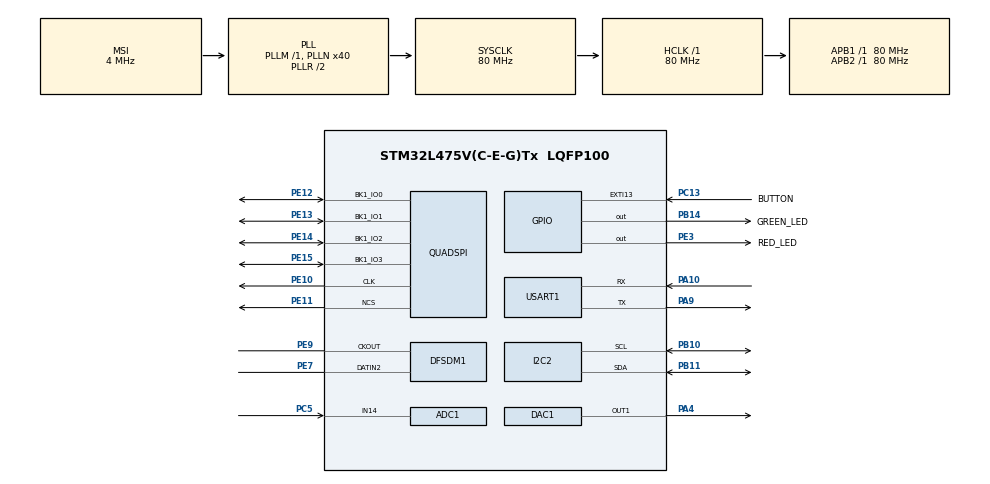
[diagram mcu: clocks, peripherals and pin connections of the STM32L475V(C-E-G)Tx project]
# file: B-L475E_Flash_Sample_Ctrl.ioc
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ADC1.Channel-0\#ChannelRegularConversion=ADC_CHANNEL_14
ADC1.NbrOfConversionFlag=1
ADC1.OffsetNumber-0\#ChannelRegularConversion=ADC_OFFSET_NONE
ADC1.Rank-0\#ChannelRegularConversion=1
ADC1.Resolution=ADC_RESOLUTION_8B
ADC1.SamplingTime-0\#ChannelRegularConversion=ADC_SAMPLETIME_2CYCLES_5
ADC1.master=1
DAC1.DAC_Trigger-DAC_OUT1=DAC_TRIGGER_T2_TRGO
DFSDM1.Divider=67
DFSDM1.DmaMode_reg_FIL0=ENABLE
DFSDM1.FastMode_reg_FIL0=ENABLE
DFSDM1.Filter_regChannel_FIL0=DFSDM_CHANNEL_2
DFSDM1.Fosr_FIL0=75
DFSDM1.SincOrder_FIL0=DFSDM_FILTER_SINC3_ORDER
Dma.DAC_CH1.0.Direction=DMA_MEMORY_TO_PERIPH
Dma.DAC_CH1.0.Instance=DMA1_Channel3
Dma.DAC_CH1.0.MemDataAlignment=DMA_MDATAALIGN_BYTE
Dma.DAC_CH1.0.MemInc=DMA_MINC_ENABLE
Dma.DAC_CH1.0.Mode=DMA_CIRCULAR
Dma.DAC_CH1.0.PeriphDataAlignment=DMA_PDATAALIGN_BYTE
Dma.DAC_CH1.0.PeriphInc=DMA_PINC_DISABLE
Dma.DAC_CH1.0.Priority=DMA_PRIORITY_LOW
Dma.DFSDM1_FLT0.1.Direction=DMA_PERIPH_TO_MEMORY
Dma.DFSDM1_FLT0.1.Instance=DMA1_Channel4
Dma.DFSDM1_FLT0.1.MemDataAlignment=DMA_MDATAALIGN_WORD
Dma.DFSDM1_FLT0.1.MemInc=DMA_MINC_ENABLE
Dma.DFSDM1_FLT0.1.Mode=DMA_NORMAL
Dma.DFSDM1_FLT0.1.PeriphDataAlignment=DMA_PDATAALIGN_WORD
Dma.DFSDM1_FLT0.1.PeriphInc=DMA_PINC_DISABLE
Dma.DFSDM1_FLT0.1.Priority=DMA_PRIORITY_LOW
Dma.Request0=DAC_CH1
Dma.Request1=DFSDM1_FLT0
I2C2.Timing=0x10909CEC
Mcu.Family=STM32L4
Mcu.Name=STM32L475V(C-E-G)Tx
Mcu.Package=LQFP100
NVIC.DMA1_Channel3_IRQn=true\:0\:0\:false\:false\:true\:false\:true
NVIC.DMA1_Channel4_IRQn=true\:0\:0\:false\:false\:true\:false\:true
NVIC.EXTI15_10_IRQn=true\:0\:0\:false\:false\:true\:true\:true
NVIC.PriorityGroup=NVIC_PRIORITYGROUP_4
NVIC.TIM2_IRQn=true\:0\:0\:false\:false\:true\:true\:true
PA10.Mode=Asynchronous
PA10.Signal=USART1_RX
PA13\ (JTMS-SWDIO).Signal=SYS_JTMS-SWDIO
PA4.Signal=COMP_DAC11_group
PA9.Mode=Asynchronous
PA9.Signal=USART1_TX
PB10.Mode=I2C
PB10.Signal=I2C2_SCL
PB11.Mode=I2C
PB11.Signal=I2C2_SDA
PB14.GPIO_Label=GREEN_LED
PB14.Signal=GPIO_Output
PB3\ (JTDO-TRACESWO).Signal=SYS_JTDO-SWO
PC13.GPIO_Label=BUTTON
PC13.Signal=GPXTI13
PC5.Signal=ADCx_IN14
PE10.Mode=Single Bank
PE10.Signal=QUADSPI_CLK
PE11.Mode=Single Bank
PE11.Signal=QUADSPI_NCS
PE12.Mode=Single Bank
PE12.Signal=QUADSPI_BK1_IO0
PE13.Mode=Single Bank
PE13.Signal=QUADSPI_BK1_IO1
PE14.Mode=Single Bank
PE14.Signal=QUADSPI_BK1_IO2
PE15.Mode=Single Bank
PE15.Signal=QUADSPI_BK1_IO3
PE3.GPIO_Label=RED_LED
PE3.Signal=GPIO_Output
PE7.Signal=S_DATAIN2DFSDM1
PE9.Signal=S_CKOUTDFSDM1
ProjectManager.HeapSize=0x200
ProjectManager.StackSize=0x400
ProjectManager.TargetToolchain=STM32CubeIDE
RCC.ADCFreq_Value=48000000
RCC.AHBFreq_Value=80000000
RCC.APB1Freq_Value=80000000
RCC.APB1TimFreq_Value=80000000
RCC.APB2Freq_Value=80000000
RCC.APB2TimFreq_Value=80000000
RCC.CortexFreq_Value=80000000
RCC.HCLKFreq_Value=80000000
RCC.HSE_VALUE=8000000
RCC.HSI_VALUE=16000000
RCC.LSE_VALUE=32768
RCC.MSI_VALUE=4000000
RCC.PLLN=40
RCC.PLLSAI1N=24
RCC.SYSCLKFreq_VALUE=80000000
RCC.SYSCLKSource=RCC_SYSCLKSOURCE_PLLCLK
RCC.USBFreq_Value=48000000
RCC.VCOOutputFreq_Value=160000000
SH.ADCx_IN14.0=ADC1_IN14,IN14-Single-Ended
SH.COMP_DAC11_group.0=DAC1_OUT1,DAC_OUT1
SH.S_CKOUTDFSDM1.0=DFSDM1_CKOUT,CKOUT
SH.S_CKOUTDFSDM1.1=DFSDM1_CKOUT,PDM_SPI_input_from_ch2_and_internal_clock
SH.S_DATAIN2DFSDM1.0=DFSDM1_DATIN2,PDM_SPI_input_from_ch2_and_internal_clock
TIM2.Period=1814
TIM2.TIM_MasterOutputTrigger=TIM_TRGO_UPDATE
USART1.VirtualMode-Asynchronous=VM_ASYNC
VP_TIM2_VS_ClockSourceINT.Mode=Internal
board=B-L475E-IOT01A1

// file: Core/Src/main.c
/* USER CODE BEGIN Header */
/**
  ******************************************************************************
  * @file           : main.c
  * @brief          : Main program body
  ******************************************************************************
  * @attention
  *
  * <h2><center>&copy; Copyright (c) 2020 STMicroelectronics.
  * All rights reserved.</center></h2>
  *
  * This software component is licensed by ST under BSD 3-Clause license,
  * the "License"; You may not use this file except in compliance with the
  * License. You may obtain a copy of the License at:
  *                        opensource.org/licenses/BSD-3-Clause
  *
  ******************************************************************************
  */
/* USER CODE END Header */
#include "main.h"

/* USER CODE BEGIN Includes */
#include <stdio.h>
#include <string.h>
#include "stm32l475e_iot01_accelero.h"
#include "stm32l475e_iot01_qspi.h"
#include "arm_math.h"
#define ARM_MATH_CM4
#include "mx25r6435f.h"

/* USER CODE END Includes */

/* USER CODE BEGIN PTD */
volatile enum {IDLE, HALFPT, DONE} currState_flash;
volatile uint8_t doneRecording = 0;
/* USER CODE END PTD */

/* USER CODE BEGIN PD */

// DEFAULT TONE PARAMS
#define C6					1046							// frequency of the default tone
#define INIT_AMP			80								// amplitude of the default tone

// RECORDING PARAMS
#define SAMPLING_FREQ 		44100							// sampling frequency of audio data (Hz)
#define NUM_SECONDS			20								// record for 20 seconds
#define NUM_TOTAL_SAMPLES	(NUM_SECONDS*SAMPLING_FREQ)		// 882000 samples total for 20 seconds of recording

// FLASH READ/WRITE PARAMS
#define START_WRITE_ADR		(uint32_t)0x0000				// address of first block in FLASH memory
#define TONE_BUFFER_SIZE	2000							// 2000 samples (~0.05 seconds of samples)
#define HALF_BUFFER_SIZE	1000							// 1000 samples (~0.02 seconds of samples)
#define NUM_BLOCKS_FLASH	(uint32_t)(NUM_TOTAL_SAMPLES/MX25R6435F_BLOCK_SIZE) + 1
#define RECSAMPLES			11025

// VOICE PLAYBACK PARAMS
#define MAX_MUL_PB			4
#define TEMP_BUFFER_SIZE	MAX_MUL_PB*HALF_BUFFER_SIZE

/* USER CODE END PD */

ADC_HandleTypeDef hadc1;

DAC_HandleTypeDef hdac1;
DMA_HandleTypeDef hdma_dac_ch1;

DFSDM_Filter_HandleTypeDef hdfsdm1_filter0;
DFSDM_Channel_HandleTypeDef hdfsdm1_channel2;
DMA_HandleTypeDef hdma_dfsdm1_flt0;

I2C_HandleTypeDef hi2c2;

QSPI_HandleTypeDef hqspi;

TIM_HandleTypeDef htim2;

UART_HandleTypeDef huart1;

/* USER CODE BEGIN PV */

// ------------------ DEFINITIONS ------------------ //
// Audio playback var definitions
uint8_t audioBuffer[TONE_BUFFER_SIZE];

uint8_t tempBuffer[TEMP_BUFFER_SIZE];

uint32_t recordBuffer[RECSAMPLES];
uint8_t recordBufferProc[RECSAMPLES];
uint32_t newStart = 0;
uint32_t nextPosition = 0;
uint8_t currTimeStep = 0;

// Sensor/potentiometer reading var definitions
uint8_t volume = 0;
float vol_mod = 1;
int16_t raw_acc[] = {0, 0, 0};
float conv_accX = 0;
char strBuf[100];

/* USER CODE END PV */

void SystemClock_Config(void);
static void MX_GPIO_Init(void);
static void MX_DMA_Init(void);
static void MX_DAC1_Init(void);
static void MX_TIM2_Init(void);
static void MX_QUADSPI_Init(void);
static void MX_I2C2_Init(void);
static void MX_USART1_UART_Init(void);
static void MX_ADC1_Init(void);
static void MX_DFSDM1_Init(void);
/* USER CODE BEGIN PFP */

void GenerateTone(uint8_t *array, float vol, float freq, uint32_t nSamples);
float MapFreqVal(int16_t x);
float MapModifVal(int16_t x);
void ModifyRecFreq(uint8_t *inArr, uint8_t *outArr, float mod, uint32_t nSamples, float vol);

/* USER CODE END PFP */

int main(void)
{

  /* MCU Configuration--------------------------------------------------------*/

  /* Reset of all peripherals, Initializes the Flash interface and the Systick. */
  HAL_Init();

  /* Configure the system clock */
  SystemClock_Config();

  /* Initialize all configured peripherals */
  MX_GPIO_Init();
  MX_DMA_Init();
  MX_DAC1_Init();
  MX_TIM2_Init();
  MX_QUADSPI_Init();
  MX_I2C2_Init();
  MX_USART1_UART_Init();
  MX_ADC1_Init();
  MX_DFSDM1_Init();
  /* USER CODE BEGIN 2 */

  if (BSP_ACCELERO_Init() != ACCELERO_OK){
  	  HAL_GPIO_WritePin(RED_LED_GPIO_Port, RED_LED_Pin, GPIO_PIN_RESET);
    }
  memset(&strBuf[0], 0, sizeof(strBuf));

  // Poll ADC
  HAL_ADC_Start(&hadc1);
  HAL_ADC_PollForConversion(&hadc1, HAL_MAX_DELAY);
  volume = HAL_ADC_GetValue(&hadc1)/3;
  HAL_ADC_Stop(&hadc1);

  // Poll accelerometer
  BSP_ACCELERO_AccGetXYZ(raw_acc);
  conv_accX = MapFreqVal(raw_acc[0]);

  // ------------------------------- ERASE AND REWRITE FLASH WITH TEST TONE ------------------------------- //
  //                               (WILL BE REPLACED BY ACTUAL MIC RECORDING)                               //

  // Generate a C6 tone for testing
  GenerateTone(audioBuffer, 40, C6, TONE_BUFFER_SIZE);

  BSP_QSPI_Init();
  // Loop and erase 1 block of FLASH memory at a time
  for (int i = 0; i < NUM_BLOCKS_FLASH; i++){
  	  newStart = START_WRITE_ADR + i*(MX25R6435F_BLOCK_SIZE);

  	  if (BSP_QSPI_Erase_Block(newStart) != QSPI_OK)
  		  Error_Handler();
  }

//  // Write the C6 tone to FLASH repeatedly for 20 seconds
//  uint8_t reachEndFlash = 0;
//  newStart = START_WRITE_ADR;
//  nextPosition = newStart;
//
//  while (!reachEndFlash){
//
//	  nextPosition = newStart + TONE_BUFFER_SIZE;
//
//	  if (nextPosition >= NUM_TOTAL_SAMPLES){
//		  reachEndFlash = 1;
//
//		  if (BSP_QSPI_Write(&audioBuffer[0], newStart, (NUM_TOTAL_SAMPLES-newStart)) != QSPI_OK)
//			  Error_Handler();
//
//		  break;
//	  }
//
//	  if (BSP_QSPI_Write(audioBuffer, newStart, TONE_BUFFER_SIZE) != QSPI_OK)
//		  Error_Handler();
//
//	  newStart = nextPosition;
//  }

  // Record 20 seconds and write to FLASH
  HAL_GPIO_WritePin(GREEN_LED_GPIO_Port, GREEN_LED_Pin, GPIO_PIN_SET);
  HAL_Delay(500);
  HAL_GPIO_WritePin(GREEN_LED_GPIO_Port, GREEN_LED_Pin, GPIO_PIN_RESET);
  HAL_Delay(500);
//  HAL_GPIO_WritePin(GREEN_LED_GPIO_Port, GREEN_LED_Pin, GPIO_PIN_SET);

  newStart = START_WRITE_ADR;

  for (uint8_t i = 0; i < 80; i++){

	  HAL_GPIO_WritePin(GREEN_LED_GPIO_Port, GREEN_LED_Pin, GPIO_PIN_SET);
	  HAL_DFSDM_FilterRegularStart_DMA (&hdfsdm1_filter0, (int32_t *)recordBuffer , TONE_BUFFER_SIZE);
	  while (!doneRecording); //doneRecording needs to be set to 1 by the ISR
	  HAL_DFSDM_FilterRegularStop_DMA(&hdfsdm1_filter0);

	  for (uint32_t i=0; i < RECSAMPLES; i++){
		  // trim the 32 bit signed number to 24 MSBs first, then instead of directly converting to 8 bits, 'amplify' the sound a bit
		  int32_t currSample = recordBuffer[i] >> (8 + (24-16));

		  // convert 8 bit signed to 8 bit unsigned
		  recordBufferProc[i] = (uint8_t)currSample + 80;
	  }
	  doneRecording = 0;

	  HAL_GPIO_WritePin(GREEN_LED_GPIO_Port, GREEN_LED_Pin, GPIO_PIN_RESET);
	  if (BSP_QSPI_Write(recordBufferProc, newStart, RECSAMPLES) != QSPI_OK)
		  Error_Handler();

	  newStart += RECSAMPLES;
  }

  HAL_GPIO_WritePin(GREEN_LED_GPIO_Port, GREEN_LED_Pin, GPIO_PIN_RESET);

  // Reset audio buffer
  memset(&audioBuffer[0], 0, sizeof(audioBuffer));

  // ------------------------------------------------------------------------------------------------------ //

  // Clear error led state
  HAL_GPIO_WritePin(RED_LED_GPIO_Port, RED_LED_Pin, GPIO_PIN_SET); // clear error led state

  // Start timer
  HAL_TIM_Base_Start_IT(&htim2);

  // Start DMA for DAC
  HAL_DAC_Start_DMA(&hdac1, DAC_CHANNEL_1, (uint32_t *)audioBuffer, TONE_BUFFER_SIZE, DAC_ALIGN_8B_R);

  // Start in IDLE mode:
  currState_flash = IDLE;

  // Start at the beginning of the flash recording
  newStart = START_WRITE_ADR;
  nextPosition = newStart;
  uint16_t nextLen = HALF_BUFFER_SIZE;
  float modifier = 1;

  /* USER CODE END 2 */

  /* Infinite loop */
  /* USER CODE BEGIN WHILE */
  while (1)
  {

	// ----------------------------- LOAD AUDIO SAMPLES FROM FLASH TO DAC USING DMA ------------------------------
	switch (currState_flash){
		case IDLE:
			break;

		case HALFPT:

			// Read first half of next note into tones[]
			HAL_ADC_Start(&hadc1);
			HAL_ADC_PollForConversion(&hadc1, HAL_MAX_DELAY);
			vol_mod = (float)HAL_ADC_GetValue(&hadc1)/128.0;
			HAL_ADC_Stop(&hadc1);

			BSP_ACCELERO_AccGetXYZ(raw_acc);
			modifier = MapModifVal(raw_acc[0]);

			nextLen = (uint16_t)(modifier * HALF_BUFFER_SIZE);

			if (BSP_QSPI_Read(tempBuffer, newStart, nextLen) != QSPI_OK)
				Error_Handler();

			ModifyRecFreq(tempBuffer, audioBuffer, modifier, nextLen, vol_mod);

			// Check if exceed number of samples
			nextPosition = newStart + nextLen; //change this
			if (nextPosition >= NUM_TOTAL_SAMPLES){
				HAL_DAC_Stop_DMA(&hdac1, DAC_CHANNEL_1);
			}

			newStart = nextPosition;
			currState_flash = IDLE;
			break;

		case DONE:

			// Read second half of curr note into tones[]
			HAL_ADC_Start(&hadc1);
			HAL_ADC_PollForConversion(&hadc1, HAL_MAX_DELAY);
			vol_mod = (float)HAL_ADC_GetValue(&hadc1)/128.0;
			HAL_ADC_Stop(&hadc1);

			BSP_ACCELERO_AccGetXYZ(raw_acc);
			modifier = MapModifVal(raw_acc[0]);

			nextLen = (uint16_t)(modifier * HALF_BUFFER_SIZE);

			if (BSP_QSPI_Read(tempBuffer, newStart, nextLen) != QSPI_OK)
				Error_Handler();

			ModifyRecFreq(tempBuffer, &audioBuffer[HALF_BUFFER_SIZE-1], modifier, nextLen, vol_mod);

			// Check if exceed number of samples
			nextPosition = newStart + nextLen; //change this
			if (nextPosition >= NUM_TOTAL_SAMPLES){
				HAL_DAC_Stop_DMA(&hdac1, DAC_CHANNEL_1);
			}

			newStart = nextPosition;
			currState_flash = IDLE;
			break;

	}
	// ----------------------------------------------------------------------------------------------------------

    /* USER CODE END WHILE */

  }
}

void SystemClock_Config(void)
{
  RCC_OscInitTypeDef RCC_OscInitStruct = {0};
  RCC_ClkInitTypeDef RCC_ClkInitStruct = {0};
  RCC_PeriphCLKInitTypeDef PeriphClkInit = {0};

  /** Initializes the RCC Oscillators according to the specified parameters
  * in the RCC_OscInitTypeDef structure.
  */
  RCC_OscInitStruct.OscillatorType = RCC_OSCILLATORTYPE_MSI;
  RCC_OscInitStruct.MSIState = RCC_MSI_ON;
  RCC_OscInitStruct.MSICalibrationValue = 0;
  RCC_OscInitStruct.MSIClockRange = RCC_MSIRANGE_6;
  RCC_OscInitStruct.PLL.PLLState = RCC_PLL_ON;
  RCC_OscInitStruct.PLL.PLLSource = RCC_PLLSOURCE_MSI;
  RCC_OscInitStruct.PLL.PLLM = 1;
  RCC_OscInitStruct.PLL.PLLN = 40;
  RCC_OscInitStruct.PLL.PLLP = RCC_PLLP_DIV7;
  RCC_OscInitStruct.PLL.PLLQ = RCC_PLLQ_DIV2;
  RCC_OscInitStruct.PLL.PLLR = RCC_PLLR_DIV2;
  if (HAL_RCC_OscConfig(&RCC_OscInitStruct) != HAL_OK)
  {
    Error_Handler();
  }
  /** Initializes the CPU, AHB and APB buses clocks
  */
  RCC_ClkInitStruct.ClockType = RCC_CLOCKTYPE_HCLK|RCC_CLOCKTYPE_SYSCLK
                              |RCC_CLOCKTYPE_PCLK1|RCC_CLOCKTYPE_PCLK2;
  RCC_ClkInitStruct.SYSCLKSource = RCC_SYSCLKSOURCE_PLLCLK;
  RCC_ClkInitStruct.AHBCLKDivider = RCC_SYSCLK_DIV1;
  RCC_ClkInitStruct.APB1CLKDivider = RCC_HCLK_DIV1;
  RCC_ClkInitStruct.APB2CLKDivider = RCC_HCLK_DIV1;

  if (HAL_RCC_ClockConfig(&RCC_ClkInitStruct, FLASH_LATENCY_4) != HAL_OK)
  {
    Error_Handler();
  }
  PeriphClkInit.PeriphClockSelection = RCC_PERIPHCLK_USART1|RCC_PERIPHCLK_I2C2
                              |RCC_PERIPHCLK_DFSDM1|RCC_PERIPHCLK_ADC;
  PeriphClkInit.Usart1ClockSelection = RCC_USART1CLKSOURCE_PCLK2;
  PeriphClkInit.I2c2ClockSelection = RCC_I2C2CLKSOURCE_PCLK1;
  PeriphClkInit.AdcClockSelection = RCC_ADCCLKSOURCE_PLLSAI1;
  PeriphClkInit.Dfsdm1ClockSelection = RCC_DFSDM1CLKSOURCE_PCLK;
  PeriphClkInit.PLLSAI1.PLLSAI1Source = RCC_PLLSOURCE_MSI;
  PeriphClkInit.PLLSAI1.PLLSAI1M = 1;
  PeriphClkInit.PLLSAI1.PLLSAI1N = 24;
  PeriphClkInit.PLLSAI1.PLLSAI1P = RCC_PLLP_DIV7;
  PeriphClkInit.PLLSAI1.PLLSAI1Q = RCC_PLLQ_DIV2;
  PeriphClkInit.PLLSAI1.PLLSAI1R = RCC_PLLR_DIV2;
  PeriphClkInit.PLLSAI1.PLLSAI1ClockOut = RCC_PLLSAI1_ADC1CLK;
  if (HAL_RCCEx_PeriphCLKConfig(&PeriphClkInit) != HAL_OK)
  {
    Error_Handler();
  }
  /** Configure the main internal regulator output voltage
  */
  if (HAL_PWREx_ControlVoltageScaling(PWR_REGULATOR_VOLTAGE_SCALE1) != HAL_OK)
  {
    Error_Handler();
  }
}

static void MX_ADC1_Init(void)
{

  ADC_MultiModeTypeDef multimode = {0};
  ADC_ChannelConfTypeDef sConfig = {0};

  /** Common config
  */
  hadc1.Instance = ADC1;
  hadc1.Init.ClockPrescaler = ADC_CLOCK_ASYNC_DIV1;
  hadc1.Init.Resolution = ADC_RESOLUTION_8B;
  hadc1.Init.DataAlign = ADC_DATAALIGN_RIGHT;
  hadc1.Init.ScanConvMode = ADC_SCAN_DISABLE;
  hadc1.Init.EOCSelection = ADC_EOC_SINGLE_CONV;
  hadc1.Init.LowPowerAutoWait = DISABLE;
  hadc1.Init.ContinuousConvMode = DISABLE;
  hadc1.Init.NbrOfConversion = 1;
  hadc1.Init.DiscontinuousConvMode = DISABLE;
  hadc1.Init.ExternalTrigConv = ADC_SOFTWARE_START;
  hadc1.Init.ExternalTrigConvEdge = ADC_EXTERNALTRIGCONVEDGE_NONE;
  hadc1.Init.DMAContinuousRequests = DISABLE;
  hadc1.Init.Overrun = ADC_OVR_DATA_PRESERVED;
  hadc1.Init.OversamplingMode = DISABLE;
  if (HAL_ADC_Init(&hadc1) != HAL_OK)
  {
    Error_Handler();
  }
  /** Configure the ADC multi-mode
  */
  multimode.Mode = ADC_MODE_INDEPENDENT;
  if (HAL_ADCEx_MultiModeConfigChannel(&hadc1, &multimode) != HAL_OK)
  {
    Error_Handler();
  }
  /** Configure Regular Channel
  */
  sConfig.Channel = ADC_CHANNEL_14;
  sConfig.Rank = ADC_REGULAR_RANK_1;
  sConfig.SamplingTime = ADC_SAMPLETIME_2CYCLES_5;
  sConfig.SingleDiff = ADC_SINGLE_ENDED;
  sConfig.OffsetNumber = ADC_OFFSET_NONE;
  sConfig.Offset = 0;
  if (HAL_ADC_ConfigChannel(&hadc1, &sConfig) != HAL_OK)
  {
    Error_Handler();
  }

}

static void MX_DAC1_Init(void)
{

  DAC_ChannelConfTypeDef sConfig = {0};

  /** DAC Initialization
  */
  hdac1.Instance = DAC1;
  if (HAL_DAC_Init(&hdac1) != HAL_OK)
  {
    Error_Handler();
  }
  /** DAC channel OUT1 config
  */
  sConfig.DAC_SampleAndHold = DAC_SAMPLEANDHOLD_DISABLE;
  sConfig.DAC_Trigger = DAC_TRIGGER_T2_TRGO;
  sConfig.DAC_OutputBuffer = DAC_OUTPUTBUFFER_ENABLE;
  sConfig.DAC_ConnectOnChipPeripheral = DAC_CHIPCONNECT_DISABLE;
  sConfig.DAC_UserTrimming = DAC_TRIMMING_FACTORY;
  if (HAL_DAC_ConfigChannel(&hdac1, &sConfig, DAC_CHANNEL_1) != HAL_OK)
  {
    Error_Handler();
  }

}

static void MX_DFSDM1_Init(void)
{

  hdfsdm1_filter0.Instance = DFSDM1_Filter0;
  hdfsdm1_filter0.Init.RegularParam.Trigger = DFSDM_FILTER_SW_TRIGGER;
  hdfsdm1_filter0.Init.RegularParam.FastMode = ENABLE;
  hdfsdm1_filter0.Init.RegularParam.DmaMode = ENABLE;
  hdfsdm1_filter0.Init.FilterParam.SincOrder = DFSDM_FILTER_SINC3_ORDER;
  hdfsdm1_filter0.Init.FilterParam.Oversampling = 75;
  hdfsdm1_filter0.Init.FilterParam.IntOversampling = 1;
  if (HAL_DFSDM_FilterInit(&hdfsdm1_filter0) != HAL_OK)
  {
    Error_Handler();
  }
  hdfsdm1_channel2.Instance = DFSDM1_Channel2;
  hdfsdm1_channel2.Init.OutputClock.Activation = ENABLE;
  hdfsdm1_channel2.Init.OutputClock.Selection = DFSDM_CHANNEL_OUTPUT_CLOCK_SYSTEM;
  hdfsdm1_channel2.Init.OutputClock.Divider = 67;
  hdfsdm1_channel2.Init.Input.Multiplexer = DFSDM_CHANNEL_EXTERNAL_INPUTS;
  hdfsdm1_channel2.Init.Input.DataPacking = DFSDM_CHANNEL_STANDARD_MODE;
  hdfsdm1_channel2.Init.Input.Pins = DFSDM_CHANNEL_SAME_CHANNEL_PINS;
  hdfsdm1_channel2.Init.SerialInterface.Type = DFSDM_CHANNEL_SPI_RISING;
  hdfsdm1_channel2.Init.SerialInterface.SpiClock = DFSDM_CHANNEL_SPI_CLOCK_INTERNAL;
  hdfsdm1_channel2.Init.Awd.FilterOrder = DFSDM_CHANNEL_FASTSINC_ORDER;
  hdfsdm1_channel2.Init.Awd.Oversampling = 1;
  hdfsdm1_channel2.Init.Offset = 0;
  hdfsdm1_channel2.Init.RightBitShift = 0x00;
  if (HAL_DFSDM_ChannelInit(&hdfsdm1_channel2) != HAL_OK)
  {
    Error_Handler();
  }
  if (HAL_DFSDM_FilterConfigRegChannel(&hdfsdm1_filter0, DFSDM_CHANNEL_2, DFSDM_CONTINUOUS_CONV_ON) != HAL_OK)
  {
    Error_Handler();
  }

}

static void MX_I2C2_Init(void)
{

  hi2c2.Instance = I2C2;
  hi2c2.Init.Timing = 0x10909CEC;
  hi2c2.Init.OwnAddress1 = 0;
  hi2c2.Init.AddressingMode = I2C_ADDRESSINGMODE_7BIT;
  hi2c2.Init.DualAddressMode = I2C_DUALADDRESS_DISABLE;
  hi2c2.Init.OwnAddress2 = 0;
  hi2c2.Init.OwnAddress2Masks = I2C_OA2_NOMASK;
  hi2c2.Init.GeneralCallMode = I2C_GENERALCALL_DISABLE;
  hi2c2.Init.NoStretchMode = I2C_NOSTRETCH_DISABLE;
  if (HAL_I2C_Init(&hi2c2) != HAL_OK)
  {
    Error_Handler();
  }
  /** Configure Analogue filter
  */
  if (HAL_I2CEx_ConfigAnalogFilter(&hi2c2, I2C_ANALOGFILTER_ENABLE) != HAL_OK)
  {
    Error_Handler();
  }
  /** Configure Digital filter
  */
  if (HAL_I2CEx_ConfigDigitalFilter(&hi2c2, 0) != HAL_OK)
  {
    Error_Handler();
  }

}

static void MX_QUADSPI_Init(void)
{

  /* QUADSPI parameter configuration*/
  hqspi.Instance = QUADSPI;
  hqspi.Init.ClockPrescaler = 255;
  hqspi.Init.FifoThreshold = 1;
  hqspi.Init.SampleShifting = QSPI_SAMPLE_SHIFTING_NONE;
  hqspi.Init.FlashSize = 1;
  hqspi.Init.ChipSelectHighTime = QSPI_CS_HIGH_TIME_1_CYCLE;
  hqspi.Init.ClockMode = QSPI_CLOCK_MODE_0;
  if (HAL_QSPI_Init(&hqspi) != HAL_OK)
  {
    Error_Handler();
  }

}

static void MX_TIM2_Init(void)
{

  TIM_ClockConfigTypeDef sClockSourceConfig = {0};
  TIM_MasterConfigTypeDef sMasterConfig = {0};

  htim2.Instance = TIM2;
  htim2.Init.Prescaler = 0;
  htim2.Init.CounterMode = TIM_COUNTERMODE_UP;
  htim2.Init.Period = 1814;
  htim2.Init.ClockDivision = TIM_CLOCKDIVISION_DIV1;
  htim2.Init.AutoReloadPreload = TIM_AUTORELOAD_PRELOAD_DISABLE;
  if (HAL_TIM_Base_Init(&htim2) != HAL_OK)
  {
    Error_Handler();
  }
  sClockSourceConfig.ClockSource = TIM_CLOCKSOURCE_INTERNAL;
  if (HAL_TIM_ConfigClockSource(&htim2, &sClockSourceConfig) != HAL_OK)
  {
    Error_Handler();
  }
  sMasterConfig.MasterOutputTrigger = TIM_TRGO_UPDATE;
  sMasterConfig.MasterSlaveMode = TIM_MASTERSLAVEMODE_DISABLE;
  if (HAL_TIMEx_MasterConfigSynchronization(&htim2, &sMasterConfig) != HAL_OK)
  {
    Error_Handler();
  }

}

static void MX_USART1_UART_Init(void)
{

  huart1.Instance = USART1;
  huart1.Init.BaudRate = 115200;
  huart1.Init.WordLength = UART_WORDLENGTH_8B;
  huart1.Init.StopBits = UART_STOPBITS_1;
  huart1.Init.Parity = UART_PARITY_NONE;
  huart1.Init.Mode = UART_MODE_TX_RX;
  huart1.Init.HwFlowCtl = UART_HWCONTROL_NONE;
  huart1.Init.OverSampling = UART_OVERSAMPLING_16;
  huart1.Init.OneBitSampling = UART_ONE_BIT_SAMPLE_DISABLE;
  huart1.AdvancedInit.AdvFeatureInit = UART_ADVFEATURE_NO_INIT;
  if (HAL_UART_Init(&huart1) != HAL_OK)
  {
    Error_Handler();
  }

}

static void MX_DMA_Init(void)
{

  /* DMA controller clock enable */
  __HAL_RCC_DMA1_CLK_ENABLE();

  /* DMA interrupt init */
  /* DMA1_Channel3_IRQn interrupt configuration */
  HAL_NVIC_SetPriority(DMA1_Channel3_IRQn, 0, 0);
  HAL_NVIC_EnableIRQ(DMA1_Channel3_IRQn);
  /* DMA1_Channel4_IRQn interrupt configuration */
  HAL_NVIC_SetPriority(DMA1_Channel4_IRQn, 0, 0);
  HAL_NVIC_EnableIRQ(DMA1_Channel4_IRQn);

}

static void MX_GPIO_Init(void)
{
  GPIO_InitTypeDef GPIO_InitStruct = {0};

  /* GPIO Ports Clock Enable */
  __HAL_RCC_GPIOE_CLK_ENABLE();
  __HAL_RCC_GPIOC_CLK_ENABLE();
  __HAL_RCC_GPIOA_CLK_ENABLE();
  __HAL_RCC_GPIOB_CLK_ENABLE();

  /*Configure GPIO pin Output Level */
  HAL_GPIO_WritePin(RED_LED_GPIO_Port, RED_LED_Pin, GPIO_PIN_RESET);

  /*Configure GPIO pin Output Level */
  HAL_GPIO_WritePin(GREEN_LED_GPIO_Port, GREEN_LED_Pin, GPIO_PIN_RESET);

  /*Configure GPIO pin : RED_LED_Pin */
  GPIO_InitStruct.Pin = RED_LED_Pin;
  GPIO_InitStruct.Mode = GPIO_MODE_OUTPUT_PP;
  GPIO_InitStruct.Pull = GPIO_NOPULL;
  GPIO_InitStruct.Speed = GPIO_SPEED_FREQ_LOW;
  HAL_GPIO_Init(RED_LED_GPIO_Port, &GPIO_InitStruct);

  /*Configure GPIO pin : BUTTON_Pin */
  GPIO_InitStruct.Pin = BUTTON_Pin;
  GPIO_InitStruct.Mode = GPIO_MODE_IT_RISING;
  GPIO_InitStruct.Pull = GPIO_NOPULL;
  HAL_GPIO_Init(BUTTON_GPIO_Port, &GPIO_InitStruct);

  /*Configure GPIO pin : GREEN_LED_Pin */
  GPIO_InitStruct.Pin = GREEN_LED_Pin;
  GPIO_InitStruct.Mode = GPIO_MODE_OUTPUT_PP;
  GPIO_InitStruct.Pull = GPIO_NOPULL;
  GPIO_InitStruct.Speed = GPIO_SPEED_FREQ_LOW;
  HAL_GPIO_Init(GREEN_LED_GPIO_Port, &GPIO_InitStruct);

  /* EXTI interrupt init*/
  HAL_NVIC_SetPriority(EXTI15_10_IRQn, 0, 0);
  HAL_NVIC_EnableIRQ(EXTI15_10_IRQn);

}

/* USER CODE BEGIN 4 */

void GenerateTone(uint8_t *array, float vol, float freq, uint32_t nSamples){
	float twopi = 6.283185307;
	float angStep = twopi * freq / SAMPLING_FREQ;
	float currAngle = 0;

	for (uint32_t i = 0; i < (nSamples); i++){
		currAngle = i * angStep;
		array[i] = (uint8_t)(vol + (vol * arm_sin_f32(currAngle)));
	}

}

float MapFreqVal(int16_t x){

	float x_l;
	if (x < -1000){
	  x_l = -1000;
	}
	else{
	  x_l = (float)x;
	}

	//  float in_min = -1000;
	//  float in_max = 1000;
	//  float out_min = 4300;
	//  float out_max = 300;
	//  return (((x_l - in_min) * (out_max - out_min) / (in_max - in_min) + out_min));
	return (((x_l + 1000) * (-2) + 4300));
}

float MapModifVal(int16_t x){

	float x_l;

	if (x < -714)
		x_l = 0.25;
	else if (x < -429)
		x_l = 0.333;
	else if (x < -143)
		x_l = 0.5;
	else if (x < 143)
		x_l = 1;
	else if (x < 429)
		x_l = 2;
	else if (x < 714)
		x_l = 3;
	else
		x_l = 4;

	return x_l;
}

void ModifyRecFreq(uint8_t *inArr, uint8_t *outArr, float mod, uint32_t nSamples, float vol_mod){

	// Repeat samples
	if (mod < 1){
		uint8_t scale = (uint8_t)(1 / mod);

		for (uint32_t i = 0; i < nSamples; i++){
			for (uint32_t j = 0; j < scale; j++){
				outArr[scale*i+j] = vol_mod * inArr[i];
			}
		}
		return;
	}

	uint8_t scale = (uint8_t)(mod);

	if (scale == 1){
		for (uint32_t i = 0; i < nSamples; i++){
			outArr[i] = vol_mod * inArr[i];
		}
	}

	// Subsample
	else{

		for (uint32_t i = 0; i < nSamples; i+=scale){
			outArr[(uint32_t)(i/scale)] = vol_mod * inArr[i];
		}

	}
}

void HAL_DAC_ConvHalfCpltCallbackCh1(DAC_HandleTypeDef *hdac){
	if (hdac->Instance == DAC1){
		currState_flash = HALFPT;
	}
}

void HAL_DAC_ConvCpltCallbackCh1(DAC_HandleTypeDef *hdac){
	if (hdac->Instance == DAC1){
		currState_flash = DONE;
	}
}

void HAL_DFSDM_FilterRegConvCpltCallback (DFSDM_Filter_HandleTypeDef * hdfsdm_filter){
//	if (hdfsdm_filter->Instance == DFSDM1_Filter0){
		doneRecording = 1;
//	}
}

/* USER CODE END 4 */

void Error_Handler(void)
{
  /* USER CODE BEGIN Error_Handler_Debug */
  /* User can add his own implementation to report the HAL error return state */
  HAL_GPIO_WritePin(RED_LED_GPIO_Port, RED_LED_Pin, GPIO_PIN_RESET);
  __BKPT();
  /* USER CODE END Error_Handler_Debug */
}

/************************ (C) COPYRIGHT STMicroelectronics *****END OF FILE****/
